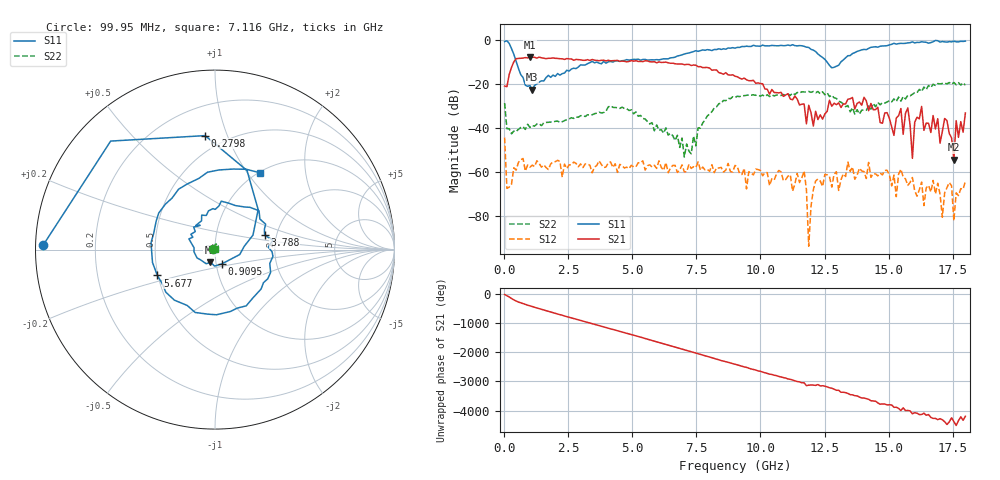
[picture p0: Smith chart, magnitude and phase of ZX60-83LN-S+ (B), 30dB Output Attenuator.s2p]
!Agilent Technologies,E8363B,SG43030126,A.07.50.67
!Agilent E8363B: A.07.50.67
!Date: Monday, August 08, 1988 04:25:02
!Correction: S11(Full 2 Port(1,2))
!S21(Full 2 Port(1,2))
!S12(Full 2 Port(1,2))
!S22(Full 2 Port(1,2))
!S2P File: Measurements: S11, S21, S12, S22:
# Hz S  dB  R 50
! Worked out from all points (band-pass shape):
!   201 points, 10 MHz to 18 GHz, reference 50 ohm
!   highest |S21| = -7.75 dB at 999.5 MHz (marker M1); lowest = -54.4 dB at 17.55 GHz (marker M2)
!   |S21| within 3 dB of the highest: 340.3 MHz to 6.65 GHz (6.309 GHz wide, 181 % of centre)
!   lowest |S11| = -22.5 dB at 1.089 GHz (marker M3), VSWR 1.16, Z = 47.1 - j6.64 ohm
!   |S11| at or under -10 dB: 468.7 MHz to 3.383 GHz (2.915 GHz wide, 151 % of centre); 3.468 GHz to 3.854 GHz (386.3 MHz wide, 10.6 % of centre); 12.6 GHz to 13.14 GHz (539.2 MHz wide, 4.19 % of centre)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
!   |S22| runs from -53.3 to -19.3 dB; largest |S21 - S12| = 0.41
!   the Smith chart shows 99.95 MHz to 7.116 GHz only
!   S11 on the Smith chart (normalised r, x): 99.95 MHz: 0.02, +0.01; 279.9 MHz: 0.39, +0.84; 909.5 MHz: 1.06, -0.17; 3.788 GHz: 1.73, +0.30; 5.677 GHz: 0.50, -0.16; 7.116 GHz: 1.02, +1.15
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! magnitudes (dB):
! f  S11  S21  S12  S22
! 10 MHz  -0.7  -20.9  -44.4  -28.7
! 99.95 MHz  -0.4  -21.2  -67.5  -40.4
! 279.9 MHz  -3.9  -12.4  -65.7  -42.7
! 909.5 MHz  -21.1  -8.1  -56.9  -38.3
! 999.5 MHz  -20.7  -7.7  -57.9  -39.8
! 1.089 GHz  -22.5  -7.8  -57.0  -39.0
! 3.068 GHz  -11.4  -9.2  -58.1  -34.5
! 3.788 GHz  -10.8  -9.2  -56.7  -33.2
! 5.677 GHz  -9.1  -9.9  -56.8  -38.2
! 6.037 GHz  -9.0  -9.9  -55.0  -41.1
! 7.116 GHz  -6.1  -11.1  -60.0  -47.3
! 9.005 GHz  -3.7  -16.5  -57.1  -26.2
! 11.88 GHz  -3.4  -29.7  -93.9  -23.4
! 12.06 GHz  -4.6  -39.1  -68.1  -23.4
! 15.03 GHz  -2.2  -35.7  -61.3  -27.6
! 15.75 GHz  -1.3  -30.9  -66.2  -25.2
! 15.93 GHz  -0.8  -53.9  -62.6  -24.7
! 16.29 GHz  -0.8  -30.2  -64.7  -23.4
! 17.19 GHz  -0.8  -35.7  -69.6  -19.7
! 17.55 GHz  -0.6  -54.4  -82.3  -19.3
! 17.64 GHz  -0.8  -36.7  -69.6  -20.4
! 18 GHz  -0.5  -33.2  -64.2  -20.5
